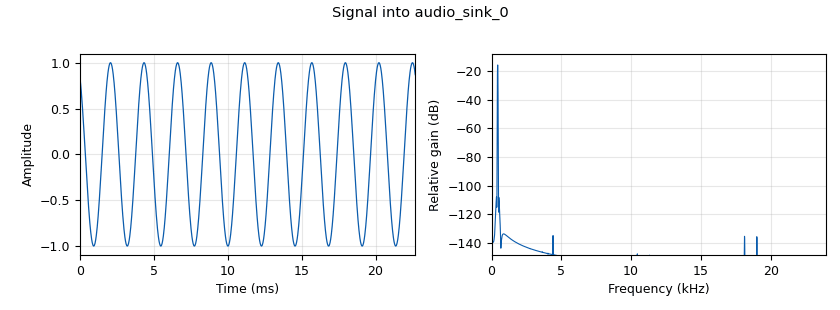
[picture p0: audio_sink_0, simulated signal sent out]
<?xml version='1.0' encoding='utf-8'?>
<flow_graph>
<block>
<key>options</key>
<param><key>id</key><value>top_block</value></param>
<param><key>generate_options</key><value>wx_gui</value></param>
<param><key>category</key><value>Custom</value></param>
</block>
<block>
<key>variable</key>
<param><key>id</key><value>samp_rate</value></param>
<param><key>value</key><value>480000</value></param>
</block>
<block>
<key>variable</key>
<param><key>id</key><value>muted</value></param>
<param><key>value</key><value>False</value></param>
</block>
<block>
<key>audio_sink</key>
<param><key>id</key><value>audio_sink_0</value></param>
<param><key>samp_rate</key><value>samp_rate/10</value></param>
</block>
<block>
<key>gr_sig_source_x</key>
<param><key>id</key><value>gr_sig_source_x_0_0_0</value></param>
<param><key>type</key><value>float</value></param>
<param><key>samp_rate</key><value>samp_rate</value></param>
<param><key>waveform</key><value>gr.GR_SIN_WAVE</value></param>
<param><key>freq</key><value>880</value></param>
<param><key>amp</key><value>1</value></param>
<param><key>offset</key><value>0</value></param>
</block>
<block>
<key>gr_mute_xx</key>
<param><key>id</key><value>gr_mute_xx_1</value></param>
<param><key>type</key><value>float</value></param>
<param><key>mute</key><value>muted</value></param>
</block>
<block>
<key>gr_mute_xx</key>
<param><key>id</key><value>gr_mute_xx_0_0</value></param>
<param><key>type</key><value>float</value></param>
<param><key>mute</key><value>False</value></param>
</block>
<block>
<key>gr_throttle</key>
<param><key>id</key><value>gr_throttle_0_0_0</value></param>
<param><key>type</key><value>float</value></param>
<param><key>samples_per_second</key><value>samp_rate</value></param>
<param><key>vlen</key><value>1</value></param>
</block>
<block>
<key>gr_throttle</key>
<param><key>id</key><value>gr_throttle_0_0</value></param>
<param><key>type</key><value>float</value></param>
<param><key>samples_per_second</key><value>samp_rate</value></param>
<param><key>vlen</key><value>1</value></param>
</block>
<block>
<key>gr_throttle</key>
<param><key>id</key><value>gr_throttle_0</value></param>
<param><key>type</key><value>float</value></param>
<param><key>samples_per_second</key><value>samp_rate</value></param>
<param><key>vlen</key><value>1</value></param>
</block>
<block>
<key>gr_mute_xx</key>
<param><key>id</key><value>gr_mute_xx_0_0_0</value></param>
<param><key>type</key><value>float</value></param>
<param><key>mute</key><value>True</value></param>
</block>
<block>
<key>blocks_keep_one_in_n</key>
<param><key>id</key><value>blocks_keep_one_in_n_0_0_0</value></param>
<param><key>type</key><value>float</value></param>
<param><key>n</key><value>10</value></param>
</block>
<block>
<key>gr_multiply_const_vxx</key>
<param><key>id</key><value>gr_multiply_const_vxx_0</value></param>
<param><key>type</key><value>float</value></param>
<param><key>const</key><value>1</value></param>
<param><key>vlen</key><value>1</value></param>
</block>
<block>
<key>blocks_keep_one_in_n</key>
<param><key>id</key><value>blocks_keep_one_in_n_0_0</value></param>
<param><key>type</key><value>float</value></param>
<param><key>n</key><value>10</value></param>
</block>
<block>
<key>gr_multiply_const_vxx</key>
<param><key>id</key><value>gr_multiply_const_vxx_0_0</value></param>
<param><key>type</key><value>float</value></param>
<param><key>const</key><value>1</value></param>
<param><key>vlen</key><value>1</value></param>
</block>
<block>
<key>blocks_keep_one_in_n</key>
<param><key>id</key><value>blocks_keep_one_in_n_0</value></param>
<param><key>type</key><value>float</value></param>
<param><key>n</key><value>10</value></param>
</block>
<block>
<key>gr_add_xx</key>
<param><key>id</key><value>gr_add_xx_0</value></param>
<param><key>type</key><value>float</value></param>
<param><key>num_inputs</key><value>3</value></param>
<param><key>vlen</key><value>1</value></param>
</block>
<block>
<key>gr_sig_source_x</key>
<param><key>id</key><value>gr_sig_source_x_0</value></param>
<param><key>type</key><value>float</value></param>
<param><key>samp_rate</key><value>samp_rate</value></param>
<param><key>waveform</key><value>gr.GR_SIN_WAVE</value></param>
<param><key>freq</key><value>4400</value></param>
<param><key>amp</key><value>1</value></param>
<param><key>offset</key><value>0</value></param>
</block>
<block>
<key>gr_sig_source_x</key>
<param><key>id</key><value>gr_sig_source_x_0_0</value></param>
<param><key>type</key><value>float</value></param>
<param><key>samp_rate</key><value>samp_rate</value></param>
<param><key>waveform</key><value>gr.GR_SIN_WAVE</value></param>
<param><key>freq</key><value>440</value></param>
<param><key>amp</key><value>1</value></param>
<param><key>offset</key><value>0</value></param>
</block>
<block>
<key>gr_mute_xx</key>
<param><key>id</key><value>gr_mute_xx_0</value></param>
<param><key>type</key><value>float</value></param>
<param><key>mute</key><value>False</value></param>
</block>
<block>
<key>gr_multiply_const_vxx</key>
<param><key>id</key><value>gr_multiply_const_vxx_0_1</value></param>
<param><key>type</key><value>float</value></param>
<param><key>const</key><value>1e-6</value></param>
<param><key>vlen</key><value>1</value></param>
</block>
<connection><source_block_id>gr_mute_xx_0</source_block_id><sink_block_id>gr_throttle_0</sink_block_id><source_key>0</source_key><sink_key>0</sink_key></connection>
<connection><source_block_id>gr_sig_source_x_0</source_block_id><sink_block_id>gr_mute_xx_0</sink_block_id><source_key>0</source_key><sink_key>0</sink_key></connection>
<connection><source_block_id>gr_throttle_0</source_block_id><sink_block_id>blocks_keep_one_in_n_0</sink_block_id><source_key>0</source_key><sink_key>0</sink_key></connection>
<connection><source_block_id>gr_mute_xx_1</source_block_id><sink_block_id>audio_sink_0</sink_block_id><source_key>0</source_key><sink_key>0</sink_key></connection>
<connection><source_block_id>gr_add_xx_0</source_block_id><sink_block_id>gr_mute_xx_1</sink_block_id><source_key>0</source_key><sink_key>0</sink_key></connection>
<connection><source_block_id>gr_throttle_0_0</source_block_id><sink_block_id>blocks_keep_one_in_n_0_0</sink_block_id><source_key>0</source_key><sink_key>0</sink_key></connection>
<connection><source_block_id>gr_sig_source_x_0_0</source_block_id><sink_block_id>gr_mute_xx_0_0</sink_block_id><source_key>0</source_key><sink_key>0</sink_key></connection>
<connection><source_block_id>gr_mute_xx_0_0</source_block_id><sink_block_id>gr_throttle_0_0</sink_block_id><source_key>0</source_key><sink_key>0</sink_key></connection>
<connection><source_block_id>gr_throttle_0_0_0</source_block_id><sink_block_id>blocks_keep_one_in_n_0_0_0</sink_block_id><source_key>0</source_key><sink_key>0</sink_key></connection>
<connection><source_block_id>gr_sig_source_x_0_0_0</source_block_id><sink_block_id>gr_mute_xx_0_0_0</sink_block_id><source_key>0</source_key><sink_key>0</sink_key></connection>
<connection><source_block_id>gr_mute_xx_0_0_0</source_block_id><sink_block_id>gr_throttle_0_0_0</sink_block_id><source_key>0</source_key><sink_key>0</sink_key></connection>
<connection><source_block_id>blocks_keep_one_in_n_0_0_0</source_block_id><sink_block_id>gr_multiply_const_vxx_0</sink_block_id><source_key>0</source_key><sink_key>0</sink_key></connection>
<connection><source_block_id>gr_multiply_const_vxx_0</source_block_id><sink_block_id>gr_add_xx_0</sink_block_id><source_key>0</source_key><sink_key>2</sink_key></connection>
<connection><source_block_id>blocks_keep_one_in_n_0_0</source_block_id><sink_block_id>gr_multiply_const_vxx_0_0</sink_block_id><source_key>0</source_key><sink_key>0</sink_key></connection>
<connection><source_block_id>gr_multiply_const_vxx_0_0</source_block_id><sink_block_id>gr_add_xx_0</sink_block_id><source_key>0</source_key><sink_key>1</sink_key></connection>
<connection><source_block_id>blocks_keep_one_in_n_0</source_block_id><sink_block_id>gr_multiply_const_vxx_0_1</sink_block_id><source_key>0</source_key><sink_key>0</sink_key></connection>
<connection><source_block_id>gr_multiply_const_vxx_0_1</source_block_id><sink_block_id>gr_add_xx_0</sink_block_id><source_key>0</source_key><sink_key>0</sink_key></connection>
</flow_graph>
